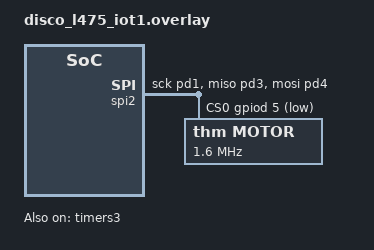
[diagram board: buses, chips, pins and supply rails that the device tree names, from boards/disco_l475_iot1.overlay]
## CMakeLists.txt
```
# SPDX-License-Identifier: Apache-2.0

cmake_minimum_required(VERSION 3.19.1)
find_package(Zephyr REQUIRED HINTS $ENV{ZEPHYR_BASE})
project(motor)

FILE(GLOB app_sources src/*.c)
target_sources(app PRIVATE ${app_sources})
```

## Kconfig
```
# Copyright (c) 2020, Nordic Semiconductor ASA
# SPDX-License-Identifier: Apache-2.0

config LOG
    default y

config LOG_PRINTK
    default y

config MOTOR_LOG_LEVEL
    default 4

config SPI
    default y

source "Kconfig.zephyr"
```

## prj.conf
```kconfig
CONFIG_MOTOR=y
CONFIG_SPI_STM32_DMA=y
CONFIG_MOTOR_FRAMES_100=y
CONFIG_MOTOR_STM32_INPUT_CAPTURE_MODE=y
```

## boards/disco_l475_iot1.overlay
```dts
&timers3 {
        status = "okay";
};

&spi2 {
        status = "okay";
        pinctrl-0 = <&spi2_sck_pd1 &spi2_miso_pd3 &spi2_mosi_pd4>;

        /* Reg 0*/
        cs-gpios = <&gpiod 5 GPIO_ACTIVE_LOW>;

        /* rx only needed for the stm32 spi dma driver but not used */
        dmas = <&dma1 5 1 0x20440 0xC>, <&dma1 4 1 0x20480 0x0>;
        dma-names = "tx", "rx";


        motor@0 {
        
                status = "okay";
                
                compatible = "thm,motor";

                chain-length = <8>;
                
                spi-max-frequency = <1600000>;

                /* register for the cs */
                reg = <0>;

                tim = <&timers3>;
        
                pinctrl-0 = < &tim3_ch1_pb4 &tim3_ch4_pb1 >;

                label = "MOTOR";

        };
};

&dma1 {
        status = "okay";
};
```

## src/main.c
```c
#include <zephyr.h>
#include <device.h>
#include <devicetree.h>
#include <drivers/motor.h>

static const struct device *get_motor_device(void)
{
	const struct device *dev = DEVICE_DT_GET_ANY(thm_motor);

	if (dev == NULL) {
		/* No such node, or the node does not have status "okay". */
		printk("\nError: no device found.\n");
		return NULL;
	}

	if (!device_is_ready(dev)) {
		printk("\nError: Device \"%s\" is not ready; "
		       "check the driver initialization logs for errors.\n",
		       dev->name);
		return NULL;
	}

	printk("Found device \"%s\", ready to write \n", dev->name);
	return dev;
}


void main(void)
{
	const struct device *dev = get_motor_device();

	if (dev == NULL) {
		return;
	}

	int sensitivity = 0;
	while (1) {

		motor_set_sensitivity(dev, 0xFF, sensitivity);

#if defined CONFIG_MOTOR_FRAMES_10
		sensitivity += 1;
		if (sensitivity > 10) {
			sensitivity = 0;
		}
#elif defined CONFIG_MOTOR_FRAMES_100
		sensitivity += 10;
		if (sensitivity > 100) {
			sensitivity = 0;
		}
#endif
		k_sleep(K_SECONDS(5));
	}
}
```
